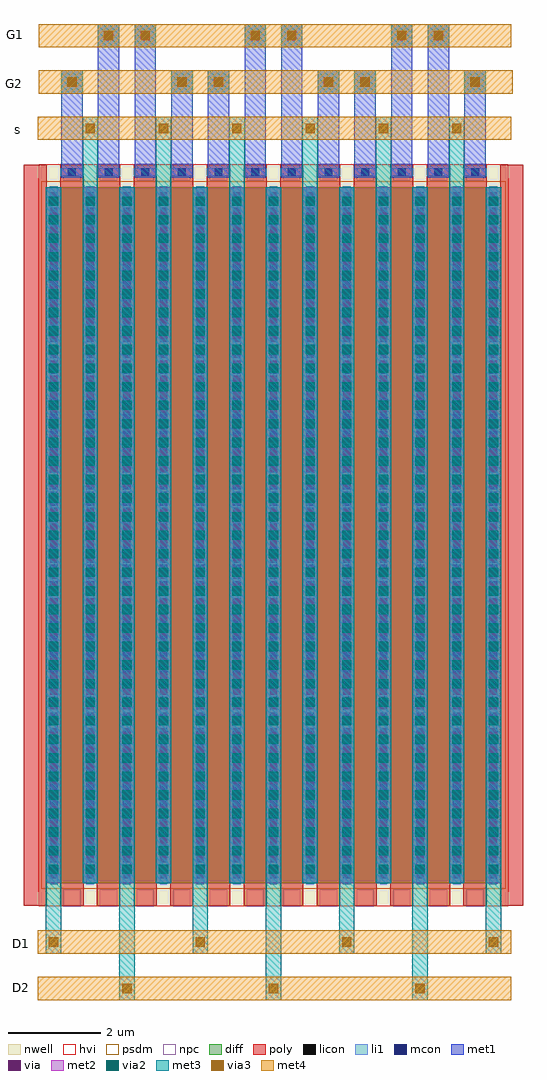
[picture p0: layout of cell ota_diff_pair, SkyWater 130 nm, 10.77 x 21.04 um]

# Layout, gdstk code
import gdstk
lib = gdstk.Library(unit=1e-6, precision=1e-09)
def R(c, l, rs):  # rectangles x0, y0, x1, y1
    for r in rs: c.add(gdstk.rectangle(r[:2], r[2:], *l))
def A(c, l, x, y, w, h, nx, ny, dx, dy):  # array of equal rectangles
    R(c, l, [(x+i*dx, y+j*dy, x+i*dx+w, y+j*dy+h) for i in range(nx) for j in range(ny)])
nwell = (64, 20)
diff = (65, 20)
poly = (66, 20)
licon = (66, 44)
li1 = (67, 20)
mcon = (67, 44)
met1 = (68, 20)
via = (68, 44)
met2 = (69, 20)
via2 = (69, 44)
met3 = (70, 20)
via3 = (70, 44)
met4 = (71, 20)
hvi = (75, 20)
psdm = (94, 20)
npc = (95, 20)

ota_diff_pair = lib.new_cell('ota_diff_pair')
R(ota_diff_pair, nwell, [(0,0,10.13,16)])
R(ota_diff_pair, diff, [(0.18,0.5,9.95,15.5)])
A(ota_diff_pair, poly, -0.32, 0.015, 0.5, 15.97, 14, 1, 0.79, 0)
A(ota_diff_pair, licon, 0.24, 0.605, 0.17, 0.17, 13, 44, 0.79, 0.34)
A(ota_diff_pair, licon, 0.635, 15.735, 0.17, 0.17, 12, 1, 0.79, 0)
A(ota_diff_pair, li1, 0.24, 0.48, 0.17, 15.04, 13, 1, 0.79, 0)
A(ota_diff_pair, li1, 0.47, 15.735, 0.5, 0.17, 12, 1, 0.79, 0)
A(ota_diff_pair, mcon, 0.24, 0.715, 0.17, 0.17, 13, 41, 0.79, 0.36)
A(ota_diff_pair, mcon, 0.635, 15.735, 0.17, 0.17, 12, 1, 0.79, 0)
A(ota_diff_pair, met1, 0.21, 0.5, 0.23, 15, 13, 1, 0.79, 0)
A(ota_diff_pair, met1, 0.49, 15.705, 0.46, 0.23, 6, 1, 0.79, 0)
R(ota_diff_pair, met1, [(4.44,15.705,4.9,15.935), (5.23,15.705,5.69,15.935), (5.23,15.705,5.69,15.935), (6.02,15.705,6.48,15.935), (6.02,15.705,6.48,15.935), (6.81,15.705,7.27,15.935), (6.81,15.705,7.27,15.935), (7.6,15.705,8.06,15.935), (7.6,15.705,8.06,15.935), (8.39,15.705,8.85,15.935), (8.39,15.705,8.85,15.935), (9.18,15.705,9.64,15.935), (9.18,15.705,9.64,15.935), (1.28,15.711,1.74,19.019), (2.07,15.718,2.53,19.019), (0.49,15.733,0.95,18.019), (2.86,15.745,3.32,18.019), (4.44,15.758,4.9,19.019), (5.23,15.771,5.69,19.019), (6.02,15.772,6.48,18.019), (3.65,15.79,4.11,18.019), (6.81,15.799,7.27,18.019), (7.6,15.803,8.06,19.019), (8.39,15.816,8.85,19.019), (9.18,15.817,9.64,18.019)])
A(ota_diff_pair, via, 0.25, 0.725, 0.15, 0.15, 13, 46, 0.79, 0.32)
R(ota_diff_pair, via, [(0.645,17.694,0.795,17.844), (3.015,17.694,3.165,17.844), (3.805,17.694,3.955,17.844), (6.175,17.694,6.325,17.844), (6.965,17.694,7.115,17.844), (9.335,17.694,9.485,17.844), (1.435,18.694,1.585,18.844), (2.225,18.694,2.375,18.844), (4.595,18.694,4.745,18.844), (5.385,18.694,5.535,18.844), (7.755,18.694,7.905,18.844), (8.545,18.694,8.695,18.844)])
A(ota_diff_pair, via2, 0.225, 0.7, 0.2, 0.2, 13, 37, 0.79, 0.4)
R(ota_diff_pair, via2, [(0.62,17.669,0.82,17.869), (2.99,17.669,3.19,17.869), (3.78,17.669,3.98,17.869), (6.15,17.669,6.35,17.869), (6.94,17.669,7.14,17.869), (9.31,17.669,9.51,17.869), (1.41,18.669,1.61,18.869), (2.2,18.669,2.4,18.869), (4.57,18.669,4.77,18.869), (5.36,18.669,5.56,18.869), (7.73,18.669,7.93,18.869), (8.52,18.669,8.72,18.869)])
A(ota_diff_pair, met3, 1.74, -2.019, 0.33, 2.52, 3, 1, 3.16, 0)
A(ota_diff_pair, met3, 0.16, -1.019, 0.33, 1.519, 4, 1, 3.16, 0)
A(ota_diff_pair, met3, 0.95, 15.5, 0.33, 1.519, 6, 1, 1.58, 0)
R(ota_diff_pair, met3, [(0.95,15.5,1.28,17.019)])
A(ota_diff_pair, via3, 1.805, -1.869, 0.2, 0.2, 3, 1, 3.16, 0)
A(ota_diff_pair, via3, 0.225, -0.869, 0.2, 0.2, 4, 1, 3.16, 0)
A(ota_diff_pair, via3, 1.015, 16.669, 0.2, 0.2, 6, 1, 1.58, 0)
R(ota_diff_pair, via3, [(0.62,17.669,0.82,17.869), (2.99,17.669,3.19,17.869), (3.78,17.669,3.98,17.869), (6.15,17.669,6.35,17.869), (6.94,17.669,7.14,17.869), (9.31,17.669,9.51,17.869), (1.41,18.669,1.61,18.869), (2.2,18.669,2.4,18.869), (4.57,18.669,4.77,18.869), (5.36,18.669,5.56,18.869), (7.73,18.669,7.93,18.869), (8.52,18.669,8.72,18.869)])
R(ota_diff_pair, hvi, [(0,0,10.13,0.315), (-0.005,0.315,10.135,15.685), (0,15.685,10.13,16)])
R(ota_diff_pair, psdm, [(0.055,0.375,10.075,15.625)])
A(ota_diff_pair, npc, 0.535, -0.005, 0.37, 0.37, 12, 2, 0.79, 15.64)
ota_diff_pair.add(gdstk.FlexPath([(1.115,15.5),(1.115,0.5)], 0.33, ends="flush", simple_path=True, layer=68, datatype=20))  # met1
ota_diff_pair.add(gdstk.FlexPath([(2.695,15.5),(2.695,0.5)], 0.33, ends="flush", simple_path=True, layer=68, datatype=20))  # met1
ota_diff_pair.add(gdstk.FlexPath([(4.275,15.5),(4.275,0.5)], 0.33, ends="flush", simple_path=True, layer=68, datatype=20))  # met1
ota_diff_pair.add(gdstk.FlexPath([(5.855,15.5),(5.855,0.5)], 0.33, ends="flush", simple_path=True, layer=68, datatype=20))  # met1
ota_diff_pair.add(gdstk.FlexPath([(7.435,15.5),(7.435,0.5)], 0.33, ends="flush", simple_path=True, layer=68, datatype=20))  # met1
ota_diff_pair.add(gdstk.FlexPath([(7.6,18.769),(8.06,18.769)], 0.5, ends="flush", simple_path=True, layer=68, datatype=20))  # met1
ota_diff_pair.add(gdstk.FlexPath([(4.44,18.769),(4.9,18.769)], 0.5, ends="flush", simple_path=True, layer=68, datatype=20))  # met1
ota_diff_pair.add(gdstk.FlexPath([(8.39,18.769),(8.85,18.769)], 0.5, ends="flush", simple_path=True, layer=68, datatype=20))  # met1
ota_diff_pair.add(gdstk.FlexPath([(5.23,18.769),(5.69,18.769)], 0.5, ends="flush", simple_path=True, layer=68, datatype=20))  # met1
ota_diff_pair.add(gdstk.FlexPath([(1.28,18.769),(1.74,18.769)], 0.5, ends="flush", simple_path=True, layer=68, datatype=20))  # met1
ota_diff_pair.add(gdstk.FlexPath([(9.18,17.769),(9.64,17.769)], 0.5, ends="flush", simple_path=True, layer=68, datatype=20))  # met1
ota_diff_pair.add(gdstk.FlexPath([(6.02,17.769),(6.48,17.769)], 0.5, ends="flush", simple_path=True, layer=68, datatype=20))  # met1
ota_diff_pair.add(gdstk.FlexPath([(2.07,18.769),(2.53,18.769)], 0.5, ends="flush", simple_path=True, layer=68, datatype=20))  # met1
ota_diff_pair.add(gdstk.FlexPath([(6.81,17.769),(7.27,17.769)], 0.5, ends="flush", simple_path=True, layer=68, datatype=20))  # met1
ota_diff_pair.add(gdstk.FlexPath([(2.86,17.769),(3.32,17.769)], 0.5, ends="flush", simple_path=True, layer=68, datatype=20))  # met1
ota_diff_pair.add(gdstk.FlexPath([(3.65,17.769),(4.11,17.769)], 0.5, ends="flush", simple_path=True, layer=68, datatype=20))  # met1
ota_diff_pair.add(gdstk.FlexPath([(0.49,17.769),(0.95,17.769)], 0.5, ends="flush", simple_path=True, layer=68, datatype=20))  # met1
ota_diff_pair.add(gdstk.FlexPath([(0.325,15.5),(0.325,0.5)], 0.33, ends="flush", simple_path=True, layer=68, datatype=20))  # met1
ota_diff_pair.add(gdstk.FlexPath([(1.905,15.5),(1.905,0.5)], 0.33, ends="flush", simple_path=True, layer=68, datatype=20))  # met1
ota_diff_pair.add(gdstk.FlexPath([(3.485,15.5),(3.485,0.5)], 0.33, ends="flush", simple_path=True, layer=68, datatype=20))  # met1
ota_diff_pair.add(gdstk.FlexPath([(5.065,15.5),(5.065,0.5)], 0.33, ends="flush", simple_path=True, layer=68, datatype=20))  # met1
ota_diff_pair.add(gdstk.FlexPath([(6.645,15.5),(6.645,0.5)], 0.33, ends="flush", simple_path=True, layer=68, datatype=20))  # met1
ota_diff_pair.add(gdstk.FlexPath([(8.225,15.5),(8.225,0.5)], 0.33, ends="flush", simple_path=True, layer=68, datatype=20))  # met1
ota_diff_pair.add(gdstk.FlexPath([(9.015,15.5),(9.015,0.5)], 0.33, ends="flush", simple_path=True, layer=68, datatype=20))  # met1
ota_diff_pair.add(gdstk.FlexPath([(9.805,15.5),(9.805,0.5)], 0.33, ends="flush", simple_path=True, layer=68, datatype=20))  # met1
ota_diff_pair.add(gdstk.FlexPath([(-0.021,16.769),(10.191,16.769)], 0.5, ends="flush", simple_path=True, layer=71, datatype=20))  # met4
ota_diff_pair.add(gdstk.FlexPath([(0.005,18.769),(10.195,18.769)], 0.5, ends="flush", simple_path=True, layer=71, datatype=20))  # met4
ota_diff_pair.add(gdstk.FlexPath([(0.005,17.769),(10.217,17.769)], 0.5, ends="flush", simple_path=True, layer=71, datatype=20))  # met4
ota_diff_pair.add(gdstk.FlexPath([(-0.021,-0.769),(10.191,-0.769)], 0.5, ends="flush", simple_path=True, layer=71, datatype=20))  # met4
ota_diff_pair.add(gdstk.FlexPath([(-0.021,-1.769),(10.191,-1.769)], 0.5, ends="flush", simple_path=True, layer=71, datatype=20))  # met4
ota_diff_pair.add(gdstk.FlexPath([(7.6,18.769),(8.06,18.769)], 0.5, ends="flush", simple_path=True, layer=71, datatype=20))  # met4
ota_diff_pair.add(gdstk.FlexPath([(4.44,18.769),(4.9,18.769)], 0.5, ends="flush", simple_path=True, layer=71, datatype=20))  # met4
ota_diff_pair.add(gdstk.FlexPath([(8.39,18.769),(8.85,18.769)], 0.5, ends="flush", simple_path=True, layer=71, datatype=20))  # met4
ota_diff_pair.add(gdstk.FlexPath([(5.23,18.769),(5.69,18.769)], 0.5, ends="flush", simple_path=True, layer=71, datatype=20))  # met4
ota_diff_pair.add(gdstk.FlexPath([(1.28,18.769),(1.74,18.769)], 0.5, ends="flush", simple_path=True, layer=71, datatype=20))  # met4
ota_diff_pair.add(gdstk.FlexPath([(9.18,17.769),(9.64,17.769)], 0.5, ends="flush", simple_path=True, layer=71, datatype=20))  # met4
ota_diff_pair.add(gdstk.FlexPath([(6.02,17.769),(6.48,17.769)], 0.5, ends="flush", simple_path=True, layer=71, datatype=20))  # met4
ota_diff_pair.add(gdstk.FlexPath([(2.07,18.769),(2.53,18.769)], 0.5, ends="flush", simple_path=True, layer=71, datatype=20))  # met4
ota_diff_pair.add(gdstk.FlexPath([(6.81,17.769),(7.27,17.769)], 0.5, ends="flush", simple_path=True, layer=71, datatype=20))  # met4
ota_diff_pair.add(gdstk.FlexPath([(2.86,17.769),(3.32,17.769)], 0.5, ends="flush", simple_path=True, layer=71, datatype=20))  # met4
ota_diff_pair.add(gdstk.FlexPath([(3.65,17.769),(4.11,17.769)], 0.5, ends="flush", simple_path=True, layer=71, datatype=20))  # met4
ota_diff_pair.add(gdstk.FlexPath([(0.49,17.769),(0.95,17.769)], 0.5, ends="flush", simple_path=True, layer=71, datatype=20))  # met4
ota_diff_pair.add(gdstk.FlexPath([(1.115,17.019),(1.115,16.519)], 0.33, ends="flush", simple_path=True, layer=71, datatype=20))  # met4
ota_diff_pair.add(gdstk.FlexPath([(2.695,17.019),(2.695,16.519)], 0.33, ends="flush", simple_path=True, layer=71, datatype=20))  # met4
ota_diff_pair.add(gdstk.FlexPath([(4.275,17.019),(4.275,16.519)], 0.33, ends="flush", simple_path=True, layer=71, datatype=20))  # met4
ota_diff_pair.add(gdstk.FlexPath([(5.855,17.019),(5.855,16.519)], 0.33, ends="flush", simple_path=True, layer=71, datatype=20))  # met4
ota_diff_pair.add(gdstk.FlexPath([(7.435,17.019),(7.435,16.519)], 0.33, ends="flush", simple_path=True, layer=71, datatype=20))  # met4
ota_diff_pair.add(gdstk.FlexPath([(9.015,17.019),(9.015,16.519)], 0.33, ends="flush", simple_path=True, layer=71, datatype=20))  # met4
ota_diff_pair.add(gdstk.FlexPath([(6.645,-1.019),(6.645,-0.519)], 0.33, ends="flush", simple_path=True, layer=71, datatype=20))  # met4
ota_diff_pair.add(gdstk.FlexPath([(9.805,-1.019),(9.805,-0.519)], 0.33, ends="flush", simple_path=True, layer=71, datatype=20))  # met4
ota_diff_pair.add(gdstk.FlexPath([(3.485,-1.019),(3.485,-0.519)], 0.33, ends="flush", simple_path=True, layer=71, datatype=20))  # met4
ota_diff_pair.add(gdstk.FlexPath([(0.325,-1.019),(0.325,-0.519)], 0.33, ends="flush", simple_path=True, layer=71, datatype=20))  # met4
ota_diff_pair.add(gdstk.FlexPath([(1.905,-2.019),(1.905,-1.519)], 0.33, ends="flush", simple_path=True, layer=71, datatype=20))  # met4
ota_diff_pair.add(gdstk.FlexPath([(5.065,-2.019),(5.065,-1.519)], 0.33, ends="flush", simple_path=True, layer=71, datatype=20))  # met4
ota_diff_pair.add(gdstk.FlexPath([(8.225,-2.019),(8.225,-1.519)], 0.33, ends="flush", simple_path=True, layer=71, datatype=20))  # met4
ota_diff_pair.add(gdstk.FlexPath([(1.115,15.5),(1.115,0.5)], 0.33, ends="flush", simple_path=True, layer=69, datatype=20))  # met2
ota_diff_pair.add(gdstk.FlexPath([(2.695,15.5),(2.695,0.5)], 0.33, ends="flush", simple_path=True, layer=69, datatype=20))  # met2
ota_diff_pair.add(gdstk.FlexPath([(4.275,15.5),(4.275,0.5)], 0.33, ends="flush", simple_path=True, layer=69, datatype=20))  # met2
ota_diff_pair.add(gdstk.FlexPath([(5.855,15.5),(5.855,0.5)], 0.33, ends="flush", simple_path=True, layer=69, datatype=20))  # met2
ota_diff_pair.add(gdstk.FlexPath([(7.435,15.5),(7.435,0.5)], 0.33, ends="flush", simple_path=True, layer=69, datatype=20))  # met2
ota_diff_pair.add(gdstk.FlexPath([(7.6,18.769),(8.06,18.769)], 0.5, ends="flush", simple_path=True, layer=69, datatype=20))  # met2
ota_diff_pair.add(gdstk.FlexPath([(4.44,18.769),(4.9,18.769)], 0.5, ends="flush", simple_path=True, layer=69, datatype=20))  # met2
ota_diff_pair.add(gdstk.FlexPath([(8.39,18.769),(8.85,18.769)], 0.5, ends="flush", simple_path=True, layer=69, datatype=20))  # met2
ota_diff_pair.add(gdstk.FlexPath([(5.23,18.769),(5.69,18.769)], 0.5, ends="flush", simple_path=True, layer=69, datatype=20))  # met2
ota_diff_pair.add(gdstk.FlexPath([(1.28,18.769),(1.74,18.769)], 0.5, ends="flush", simple_path=True, layer=69, datatype=20))  # met2
ota_diff_pair.add(gdstk.FlexPath([(9.18,17.769),(9.64,17.769)], 0.5, ends="flush", simple_path=True, layer=69, datatype=20))  # met2
ota_diff_pair.add(gdstk.FlexPath([(6.02,17.769),(6.48,17.769)], 0.5, ends="flush", simple_path=True, layer=69, datatype=20))  # met2
ota_diff_pair.add(gdstk.FlexPath([(2.07,18.769),(2.53,18.769)], 0.5, ends="flush", simple_path=True, layer=69, datatype=20))  # met2
ota_diff_pair.add(gdstk.FlexPath([(6.81,17.769),(7.27,17.769)], 0.5, ends="flush", simple_path=True, layer=69, datatype=20))  # met2
ota_diff_pair.add(gdstk.FlexPath([(2.86,17.769),(3.32,17.769)], 0.5, ends="flush", simple_path=True, layer=69, datatype=20))  # met2
ota_diff_pair.add(gdstk.FlexPath([(3.65,17.769),(4.11,17.769)], 0.5, ends="flush", simple_path=True, layer=69, datatype=20))  # met2
ota_diff_pair.add(gdstk.FlexPath([(0.49,17.769),(0.95,17.769)], 0.5, ends="flush", simple_path=True, layer=69, datatype=20))  # met2
ota_diff_pair.add(gdstk.FlexPath([(0.325,15.5),(0.325,0.5)], 0.33, ends="flush", simple_path=True, layer=69, datatype=20))  # met2
ota_diff_pair.add(gdstk.FlexPath([(1.905,15.5),(1.905,0.5)], 0.33, ends="flush", simple_path=True, layer=69, datatype=20))  # met2
ota_diff_pair.add(gdstk.FlexPath([(3.485,15.5),(3.485,0.5)], 0.33, ends="flush", simple_path=True, layer=69, datatype=20))  # met2
ota_diff_pair.add(gdstk.FlexPath([(5.065,15.5),(5.065,0.5)], 0.33, ends="flush", simple_path=True, layer=69, datatype=20))  # met2
ota_diff_pair.add(gdstk.FlexPath([(6.645,15.5),(6.645,0.5)], 0.33, ends="flush", simple_path=True, layer=69, datatype=20))  # met2
ota_diff_pair.add(gdstk.FlexPath([(8.225,15.5),(8.225,0.5)], 0.33, ends="flush", simple_path=True, layer=69, datatype=20))  # met2
ota_diff_pair.add(gdstk.FlexPath([(9.015,15.5),(9.015,0.5)], 0.33, ends="flush", simple_path=True, layer=69, datatype=20))  # met2
ota_diff_pair.add(gdstk.FlexPath([(9.805,15.5),(9.805,0.5)], 0.33, ends="flush", simple_path=True, layer=69, datatype=20))  # met2
ota_diff_pair.add(gdstk.FlexPath([(1.115,15.5),(1.115,0.5)], 0.33, ends="flush", simple_path=True, layer=70, datatype=20))  # met3
ota_diff_pair.add(gdstk.FlexPath([(2.695,15.5),(2.695,0.5)], 0.33, ends="flush", simple_path=True, layer=70, datatype=20))  # met3
ota_diff_pair.add(gdstk.FlexPath([(4.275,15.5),(4.275,0.5)], 0.33, ends="flush", simple_path=True, layer=70, datatype=20))  # met3
ota_diff_pair.add(gdstk.FlexPath([(5.855,15.5),(5.855,0.5)], 0.33, ends="flush", simple_path=True, layer=70, datatype=20))  # met3
ota_diff_pair.add(gdstk.FlexPath([(7.435,15.5),(7.435,0.5)], 0.33, ends="flush", simple_path=True, layer=70, datatype=20))  # met3
ota_diff_pair.add(gdstk.FlexPath([(7.6,18.769),(8.06,18.769)], 0.5, ends="flush", simple_path=True, layer=70, datatype=20))  # met3
ota_diff_pair.add(gdstk.FlexPath([(4.44,18.769),(4.9,18.769)], 0.5, ends="flush", simple_path=True, layer=70, datatype=20))  # met3
ota_diff_pair.add(gdstk.FlexPath([(8.39,18.769),(8.85,18.769)], 0.5, ends="flush", simple_path=True, layer=70, datatype=20))  # met3
ota_diff_pair.add(gdstk.FlexPath([(5.23,18.769),(5.69,18.769)], 0.5, ends="flush", simple_path=True, layer=70, datatype=20))  # met3
ota_diff_pair.add(gdstk.FlexPath([(1.28,18.769),(1.74,18.769)], 0.5, ends="flush", simple_path=True, layer=70, datatype=20))  # met3
ota_diff_pair.add(gdstk.FlexPath([(9.18,17.769),(9.64,17.769)], 0.5, ends="flush", simple_path=True, layer=70, datatype=20))  # met3
ota_diff_pair.add(gdstk.FlexPath([(6.02,17.769),(6.48,17.769)], 0.5, ends="flush", simple_path=True, layer=70, datatype=20))  # met3
ota_diff_pair.add(gdstk.FlexPath([(2.07,18.769),(2.53,18.769)], 0.5, ends="flush", simple_path=True, layer=70, datatype=20))  # met3
ota_diff_pair.add(gdstk.FlexPath([(6.81,17.769),(7.27,17.769)], 0.5, ends="flush", simple_path=True, layer=70, datatype=20))  # met3
ota_diff_pair.add(gdstk.FlexPath([(2.86,17.769),(3.32,17.769)], 0.5, ends="flush", simple_path=True, layer=70, datatype=20))  # met3
ota_diff_pair.add(gdstk.FlexPath([(3.65,17.769),(4.11,17.769)], 0.5, ends="flush", simple_path=True, layer=70, datatype=20))  # met3
ota_diff_pair.add(gdstk.FlexPath([(0.49,17.769),(0.95,17.769)], 0.5, ends="flush", simple_path=True, layer=70, datatype=20))  # met3
ota_diff_pair.add(gdstk.FlexPath([(1.115,17.019),(1.115,16.519)], 0.33, ends="flush", simple_path=True, layer=70, datatype=20))  # met3
ota_diff_pair.add(gdstk.FlexPath([(2.695,17.019),(2.695,16.519)], 0.33, ends="flush", simple_path=True, layer=70, datatype=20))  # met3
ota_diff_pair.add(gdstk.FlexPath([(4.275,17.019),(4.275,16.519)], 0.33, ends="flush", simple_path=True, layer=70, datatype=20))  # met3
ota_diff_pair.add(gdstk.FlexPath([(5.855,17.019),(5.855,16.519)], 0.33, ends="flush", simple_path=True, layer=70, datatype=20))  # met3
ota_diff_pair.add(gdstk.FlexPath([(7.435,17.019),(7.435,16.519)], 0.33, ends="flush", simple_path=True, layer=70, datatype=20))  # met3
ota_diff_pair.add(gdstk.FlexPath([(9.015,17.019),(9.015,16.519)], 0.33, ends="flush", simple_path=True, layer=70, datatype=20))  # met3
ota_diff_pair.add(gdstk.FlexPath([(0.325,15.5),(0.325,0.5)], 0.33, ends="flush", simple_path=True, layer=70, datatype=20))  # met3
ota_diff_pair.add(gdstk.FlexPath([(1.905,15.5),(1.905,0.5)], 0.33, ends="flush", simple_path=True, layer=70, datatype=20))  # met3
ota_diff_pair.add(gdstk.FlexPath([(3.485,15.5),(3.485,0.5)], 0.33, ends="flush", simple_path=True, layer=70, datatype=20))  # met3
ota_diff_pair.add(gdstk.FlexPath([(5.065,15.5),(5.065,0.5)], 0.33, ends="flush", simple_path=True, layer=70, datatype=20))  # met3
ota_diff_pair.add(gdstk.FlexPath([(6.645,15.5),(6.645,0.5)], 0.33, ends="flush", simple_path=True, layer=70, datatype=20))  # met3
ota_diff_pair.add(gdstk.FlexPath([(8.225,15.5),(8.225,0.5)], 0.33, ends="flush", simple_path=True, layer=70, datatype=20))  # met3
ota_diff_pair.add(gdstk.FlexPath([(9.015,15.5),(9.015,0.5)], 0.33, ends="flush", simple_path=True, layer=70, datatype=20))  # met3
ota_diff_pair.add(gdstk.FlexPath([(9.805,15.5),(9.805,0.5)], 0.33, ends="flush", simple_path=True, layer=70, datatype=20))  # met3
ota_diff_pair.add(gdstk.FlexPath([(6.645,-1.019),(6.645,-0.519)], 0.33, ends="flush", simple_path=True, layer=70, datatype=20))  # met3
ota_diff_pair.add(gdstk.FlexPath([(9.805,-1.019),(9.805,-0.519)], 0.33, ends="flush", simple_path=True, layer=70, datatype=20))  # met3
ota_diff_pair.add(gdstk.FlexPath([(3.485,-1.019),(3.485,-0.519)], 0.33, ends="flush", simple_path=True, layer=70, datatype=20))  # met3
ota_diff_pair.add(gdstk.FlexPath([(0.325,-1.019),(0.325,-0.519)], 0.33, ends="flush", simple_path=True, layer=70, datatype=20))  # met3
ota_diff_pair.add(gdstk.FlexPath([(1.905,-2.019),(1.905,-1.519)], 0.33, ends="flush", simple_path=True, layer=70, datatype=20))  # met3
ota_diff_pair.add(gdstk.FlexPath([(5.065,-2.019),(5.065,-1.519)], 0.33, ends="flush", simple_path=True, layer=70, datatype=20))  # met3
ota_diff_pair.add(gdstk.FlexPath([(8.225,-2.019),(8.225,-1.519)], 0.33, ends="flush", simple_path=True, layer=70, datatype=20))  # met3
ota_diff_pair.add(gdstk.Label('G1', (-0.498,18.803), layer=69, texttype=44))
ota_diff_pair.add(gdstk.Label('G2', (-0.513,17.731), layer=69, texttype=44))
ota_diff_pair.add(gdstk.Label('s', (-0.453,16.75), layer=69, texttype=44))
ota_diff_pair.add(gdstk.Label('D1', (-0.377,-0.807), layer=69, texttype=44))
ota_diff_pair.add(gdstk.Label('D2', (-0.367,-1.75), layer=69, texttype=44))

lib.write_gds('ota_diff_pair.gds')
